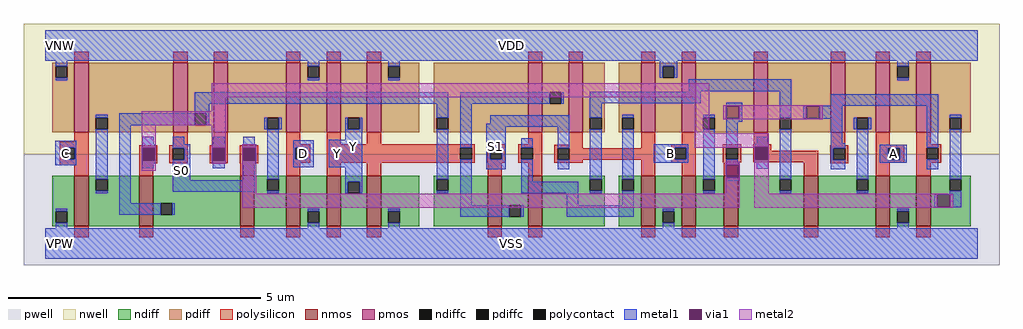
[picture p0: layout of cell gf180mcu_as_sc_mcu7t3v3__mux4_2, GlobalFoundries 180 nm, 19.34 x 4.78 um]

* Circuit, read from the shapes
.subckt gf180mcu_as_sc_mcu7t3v3__mux4_2 VDD VNW VPW VSS C D Y B A S0 S1
XM1 n1 C VSS VPW nfet_03v3 w=1u l=0.28u
XM2 n2 n3 n1 VPW nfet_03v3 w=1u l=0.28u
XM3 n4 S0 n2 VPW nfet_03v3 w=1u l=0.28u
XM4 VSS D n4 VPW nfet_03v3 w=1u l=0.28u
XM5 Y n5 VSS VPW nfet_03v3 w=1u l=0.28u m=2
XM6 n5 S1 n2 VPW nfet_03v3 w=1u l=0.28u
XM7 n6 n7 n5 VPW nfet_03v3 w=1u l=0.28u
XM8 VSS S1 n7 VPW nfet_03v3 w=1u l=0.28u
XM9 n8 B VSS VPW nfet_03v3 w=1u l=0.28u
XM10 n6 S0 n8 VPW nfet_03v3 w=1u l=0.28u
XM11 n9 n3 n6 VPW nfet_03v3 w=1u l=0.28u
XM12 VSS A n9 VPW nfet_03v3 w=1u l=0.28u
XM13 n3 S0 VSS VPW nfet_03v3 w=1u l=0.28u
XM14 n1 C VDD VNW pfet_03v3 w=1.38u l=0.28u
XM15 n2 S0 n1 VNW pfet_03v3 w=1.38u l=0.28u
XM16 n4 n3 n2 VNW pfet_03v3 w=1.38u l=0.28u
XM17 VDD D n4 VNW pfet_03v3 w=1.38u l=0.28u
XM18 Y n5 VDD VNW pfet_03v3 w=1.38u l=0.28u m=2
XM19 n5 n7 n2 VNW pfet_03v3 w=1.38u l=0.28u
XM20 n6 S1 n5 VNW pfet_03v3 w=1.38u l=0.28u
XM21 VDD S1 n7 VNW pfet_03v3 w=1.38u l=0.28u
XM22 n8 B VDD VNW pfet_03v3 w=1.38u l=0.28u
XM23 n6 n3 n8 VNW pfet_03v3 w=1.38u l=0.28u
XM24 n9 S0 n6 VNW pfet_03v3 w=1.38u l=0.28u
XM25 VDD A n9 VNW pfet_03v3 w=1.38u l=0.28u
XM26 n3 S0 VDD VNW pfet_03v3 w=1.38u l=0.28u
.ends

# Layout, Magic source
magic
tech gf180mcuD
magscale 1 10
<< nwell >>
rect -86 354 3782 870
<< pwell >>
rect -86 -86 3782 354
<< nmos >>
rect 116 68 172 268
rect 372 68 428 268
rect 773 68 829 268
rect 955 68 1011 268
rect 1115 68 1171 268
rect 1275 68 1331 268
rect 1754 68 1810 268
rect 1914 68 1970 268
rect 2362 68 2418 268
rect 2522 68 2578 268
rect 2690 68 2746 268
rect 3007 68 3063 268
rect 3291 68 3347 268
rect 3453 68 3509 268
<< pmos >>
rect 116 440 172 716
rect 508 440 564 716
rect 668 440 724 716
rect 955 440 1011 716
rect 1115 440 1171 716
rect 1275 440 1331 716
rect 1914 440 1970 716
rect 2074 440 2130 716
rect 2362 440 2418 716
rect 2522 440 2578 716
rect 2808 440 2864 716
rect 3114 440 3170 716
rect 3291 440 3347 716
rect 3453 440 3509 716
<< ndiff >>
rect 28 127 116 268
rect 28 81 41 127
rect 87 81 116 127
rect 28 68 116 81
rect 172 255 372 268
rect 172 209 201 255
rect 247 209 372 255
rect 172 68 372 209
rect 428 159 773 268
rect 428 113 457 159
rect 503 113 773 159
rect 428 68 773 113
rect 829 255 955 268
rect 829 209 880 255
rect 926 209 955 255
rect 829 68 955 209
rect 1011 127 1115 268
rect 1011 81 1040 127
rect 1086 81 1115 127
rect 1011 68 1115 81
rect 1171 244 1275 268
rect 1171 198 1200 244
rect 1246 198 1275 244
rect 1171 68 1275 198
rect 1331 127 1483 268
rect 1331 81 1360 127
rect 1406 81 1483 127
rect 1331 68 1483 81
rect 1539 255 1754 268
rect 1539 209 1552 255
rect 1598 209 1754 255
rect 1539 68 1754 209
rect 1810 152 1914 268
rect 1810 106 1839 152
rect 1885 106 1914 152
rect 1810 68 1914 106
rect 1970 255 2218 268
rect 1970 209 2159 255
rect 2205 209 2218 255
rect 1970 68 2218 209
rect 2274 255 2362 268
rect 2274 209 2287 255
rect 2333 209 2362 255
rect 2274 68 2362 209
rect 2418 127 2522 268
rect 2418 81 2447 127
rect 2493 81 2522 127
rect 2418 68 2522 81
rect 2578 255 2690 268
rect 2578 209 2607 255
rect 2653 209 2690 255
rect 2578 68 2690 209
rect 2746 255 3007 268
rect 2746 209 2911 255
rect 2957 209 3007 255
rect 2746 68 3007 209
rect 3063 255 3291 268
rect 3063 209 3216 255
rect 3262 209 3291 255
rect 3063 68 3291 209
rect 3347 127 3453 268
rect 3347 81 3376 127
rect 3422 81 3453 127
rect 3347 68 3453 81
rect 3509 255 3668 268
rect 3509 209 3585 255
rect 3631 209 3668 255
rect 3509 68 3668 209
<< pdiff >>
rect 28 703 116 716
rect 28 657 41 703
rect 87 657 116 703
rect 28 440 116 657
rect 172 499 508 716
rect 172 453 201 499
rect 247 453 508 499
rect 172 440 508 453
rect 564 515 668 716
rect 564 469 593 515
rect 639 469 668 515
rect 564 440 668 469
rect 724 499 955 716
rect 724 453 880 499
rect 926 453 955 499
rect 724 440 955 453
rect 1011 703 1115 716
rect 1011 657 1040 703
rect 1086 657 1115 703
rect 1011 440 1115 657
rect 1171 499 1275 716
rect 1171 453 1200 499
rect 1246 453 1275 499
rect 1171 440 1275 453
rect 1331 703 1483 716
rect 1331 657 1360 703
rect 1406 657 1483 703
rect 1331 440 1483 657
rect 1539 499 1914 716
rect 1539 453 1552 499
rect 1598 453 1914 499
rect 1539 440 1914 453
rect 1970 600 2074 716
rect 1970 554 1999 600
rect 2045 554 2074 600
rect 1970 440 2074 554
rect 2130 499 2218 716
rect 2130 453 2159 499
rect 2205 453 2218 499
rect 2130 440 2218 453
rect 2274 499 2362 716
rect 2274 453 2287 499
rect 2333 453 2362 499
rect 2274 440 2362 453
rect 2418 703 2522 716
rect 2418 657 2447 703
rect 2493 657 2522 703
rect 2418 440 2522 657
rect 2578 499 2808 716
rect 2578 453 2607 499
rect 2653 453 2808 499
rect 2578 440 2808 453
rect 2864 499 3114 716
rect 2864 453 2911 499
rect 2957 453 3114 499
rect 2864 440 3114 453
rect 3170 499 3291 716
rect 3170 453 3216 499
rect 3262 453 3291 499
rect 3170 440 3291 453
rect 3347 703 3453 716
rect 3347 657 3376 703
rect 3422 657 3453 703
rect 3347 440 3453 657
rect 3509 499 3668 716
rect 3509 453 3585 499
rect 3631 453 3668 499
rect 3509 440 3668 453
<< ndiffc >>
rect 41 81 87 127
rect 201 209 247 255
rect 457 113 503 159
rect 880 209 926 255
rect 1040 81 1086 127
rect 1200 198 1246 244
rect 1360 81 1406 127
rect 1552 209 1598 255
rect 1839 106 1885 152
rect 2159 209 2205 255
rect 2287 209 2333 255
rect 2447 81 2493 127
rect 2607 209 2653 255
rect 2911 209 2957 255
rect 3216 209 3262 255
rect 3376 81 3422 127
rect 3585 209 3631 255
<< pdiffc >>
rect 41 657 87 703
rect 201 453 247 499
rect 593 469 639 515
rect 880 453 926 499
rect 1040 657 1086 703
rect 1200 453 1246 499
rect 1360 657 1406 703
rect 1552 453 1598 499
rect 1999 554 2045 600
rect 2159 453 2205 499
rect 2287 453 2333 499
rect 2447 657 2493 703
rect 2607 453 2653 499
rect 2911 453 2957 499
rect 3216 453 3262 499
rect 3376 657 3422 703
rect 3585 453 3631 499
<< polysilicon >>
rect 116 716 172 760
rect 508 716 564 760
rect 668 716 724 760
rect 955 716 1011 760
rect 1115 716 1171 760
rect 1275 716 1331 760
rect 1914 716 1970 760
rect 2074 716 2130 760
rect 2362 716 2418 760
rect 2522 716 2578 760
rect 2808 716 2864 760
rect 3114 716 3170 760
rect 3291 716 3347 760
rect 3453 716 3509 760
rect 116 403 172 440
rect 58 380 172 403
rect 508 390 564 440
rect 668 390 724 440
rect 955 392 1011 440
rect 1115 392 1171 440
rect 1275 392 1331 440
rect 1914 392 1970 440
rect 58 334 71 380
rect 117 334 172 380
rect 58 310 172 334
rect 116 268 172 310
rect 372 377 444 390
rect 372 331 385 377
rect 431 331 444 377
rect 372 318 444 331
rect 492 377 564 390
rect 492 331 505 377
rect 551 331 564 377
rect 492 318 564 331
rect 652 377 724 390
rect 652 331 665 377
rect 711 331 724 377
rect 652 318 724 331
rect 772 377 844 390
rect 772 331 785 377
rect 831 331 844 377
rect 772 318 844 331
rect 955 379 1050 392
rect 955 333 991 379
rect 1037 333 1050 379
rect 955 320 1050 333
rect 1115 379 1703 392
rect 1115 333 1644 379
rect 1690 333 1703 379
rect 1115 320 1703 333
rect 1751 379 1823 392
rect 1751 333 1764 379
rect 1810 333 1823 379
rect 1751 320 1823 333
rect 1874 379 1970 392
rect 2074 391 2130 440
rect 1874 333 1887 379
rect 1933 333 1970 379
rect 1874 320 1970 333
rect 372 268 428 318
rect 773 268 829 318
rect 955 268 1011 320
rect 1115 268 1171 320
rect 1275 268 1331 320
rect 1754 268 1810 320
rect 1914 268 1970 320
rect 2018 378 2130 391
rect 2362 378 2418 440
rect 2522 392 2578 440
rect 2808 393 2864 440
rect 2018 332 2031 378
rect 2077 332 2418 378
rect 2018 319 2130 332
rect 2362 268 2418 332
rect 2482 379 2578 392
rect 2482 333 2495 379
rect 2541 333 2578 379
rect 2482 320 2578 333
rect 2686 380 2758 393
rect 2686 334 2699 380
rect 2745 334 2758 380
rect 2686 321 2758 334
rect 2806 380 2878 393
rect 3114 390 3170 440
rect 3291 391 3347 440
rect 3453 392 3509 440
rect 2806 334 2819 380
rect 2865 367 2878 380
rect 3111 377 3183 390
rect 2865 334 3063 367
rect 2806 321 3063 334
rect 2522 268 2578 320
rect 2690 268 2746 321
rect 3007 268 3063 321
rect 3111 331 3124 377
rect 3170 331 3183 377
rect 3111 318 3183 331
rect 3291 378 3405 391
rect 3291 332 3341 378
rect 3387 332 3405 378
rect 3291 319 3405 332
rect 3453 379 3552 392
rect 3453 333 3493 379
rect 3539 333 3552 379
rect 3453 320 3552 333
rect 3291 268 3347 319
rect 3453 268 3509 320
rect 116 24 172 68
rect 372 24 428 68
rect 773 24 829 68
rect 955 24 1011 68
rect 1115 24 1171 68
rect 1275 24 1331 68
rect 1754 24 1810 68
rect 1914 24 1970 68
rect 2362 24 2418 68
rect 2522 24 2578 68
rect 2690 24 2746 68
rect 3007 24 3063 68
rect 3291 24 3347 68
rect 3453 24 3509 68
<< polycontact >>
rect 71 334 117 380
rect 385 331 431 377
rect 505 331 551 377
rect 665 331 711 377
rect 785 331 831 377
rect 991 333 1037 379
rect 1644 333 1690 379
rect 1764 333 1810 379
rect 1887 333 1933 379
rect 2031 332 2077 378
rect 2495 333 2541 379
rect 2699 334 2745 380
rect 2819 334 2865 380
rect 3124 331 3170 377
rect 3341 332 3387 378
rect 3493 333 3539 379
<< metal1 >>
rect 0 724 3696 844
rect 41 703 87 724
rect 41 646 87 657
rect 1040 703 1086 724
rect 1040 646 1086 657
rect 1360 703 1406 724
rect 2436 703 2504 724
rect 2436 657 2447 703
rect 2493 657 2504 703
rect 3376 703 3422 724
rect 1360 646 1406 657
rect 2551 604 2957 650
rect 3376 646 3422 657
rect 2551 602 2598 604
rect 593 554 1598 600
rect 593 515 650 554
rect 201 499 247 510
rect 40 380 124 406
rect 40 334 71 380
rect 117 334 124 380
rect 40 309 124 334
rect 201 255 247 453
rect 201 198 247 209
rect 293 469 593 515
rect 639 469 650 515
rect 1552 499 1598 554
rect 293 159 339 469
rect 869 453 880 499
rect 926 453 937 499
rect 1189 453 1200 499
rect 1246 453 1257 499
rect 385 392 431 423
rect 505 392 551 423
rect 665 392 711 423
rect 785 392 831 423
rect 385 380 437 392
rect 385 316 437 328
rect 505 377 575 392
rect 551 331 575 377
rect 385 297 431 316
rect 505 251 575 331
rect 662 380 714 392
rect 662 316 714 328
rect 782 380 834 392
rect 782 316 834 328
rect 665 297 711 316
rect 785 251 831 316
rect 505 205 831 251
rect 880 255 926 453
rect 1189 410 1257 453
rect 983 379 1065 409
rect 983 333 991 379
rect 1037 333 1065 379
rect 983 302 1065 333
rect 1124 302 1257 410
rect 880 198 926 209
rect 1189 244 1257 302
rect 1189 198 1200 244
rect 1246 198 1257 244
rect 1552 255 1598 453
rect 1552 198 1598 209
rect 1644 554 1999 600
rect 2045 554 2056 600
rect 2159 556 2598 602
rect 1644 379 1690 554
rect 1764 475 2077 508
rect 41 127 87 138
rect 293 113 457 159
rect 503 113 514 159
rect 1644 152 1690 333
rect 1747 462 2077 475
rect 1747 379 1825 462
rect 1747 333 1764 379
rect 1810 333 1825 379
rect 1747 294 1825 333
rect 1887 379 1933 416
rect 1887 244 1933 333
rect 2031 378 2077 462
rect 2031 294 2077 332
rect 2159 499 2205 556
rect 2699 546 2763 558
rect 2159 255 2205 453
rect 1887 198 2113 244
rect 2159 198 2205 209
rect 2287 499 2333 510
rect 2287 255 2333 453
rect 2607 499 2653 510
rect 2411 379 2549 392
rect 2411 333 2495 379
rect 2541 333 2549 379
rect 2411 320 2549 333
rect 2067 152 2113 198
rect 2287 152 2333 209
rect 2607 255 2653 453
rect 2751 494 2763 546
rect 2699 482 2763 494
rect 2911 499 2957 604
rect 3113 546 3539 591
rect 2699 380 2745 482
rect 3005 494 3017 546
rect 3069 545 3539 546
rect 3069 494 3159 545
rect 2819 395 2865 422
rect 2699 324 2745 334
rect 2813 383 2865 395
rect 2699 312 2751 324
rect 2813 319 2865 331
rect 2819 296 2865 319
rect 2699 248 2751 260
rect 2911 255 2957 453
rect 3113 397 3159 494
rect 3205 453 3216 499
rect 3262 453 3273 499
rect 3113 377 3170 397
rect 3113 331 3124 377
rect 3113 294 3170 331
rect 2607 198 2653 209
rect 2911 198 2957 209
rect 3216 255 3262 453
rect 3308 378 3415 391
rect 3308 332 3341 378
rect 3387 332 3415 378
rect 3308 319 3415 332
rect 3493 379 3539 545
rect 3493 294 3539 333
rect 3585 499 3631 510
rect 3216 198 3262 209
rect 3585 255 3631 453
rect 3585 195 3631 209
rect 1040 127 1086 138
rect 41 60 87 81
rect 1040 60 1086 81
rect 1360 127 1406 138
rect 1644 106 1839 152
rect 1885 106 1896 152
rect 2067 106 2333 152
rect 3523 143 3535 195
rect 3587 143 3631 195
rect 2447 127 2493 138
rect 1360 60 1406 81
rect 2447 60 2493 81
rect 3376 127 3422 138
rect 3376 60 3422 81
rect 0 -60 3696 60
<< via1 >>
rect 385 377 437 380
rect 385 331 431 377
rect 431 331 437 377
rect 385 328 437 331
rect 662 377 714 380
rect 662 331 665 377
rect 665 331 711 377
rect 711 331 714 377
rect 662 328 714 331
rect 782 377 834 380
rect 782 331 785 377
rect 785 331 831 377
rect 831 331 834 377
rect 782 328 834 331
rect 2699 494 2751 546
rect 3017 494 3069 546
rect 2813 380 2865 383
rect 2813 334 2819 380
rect 2819 334 2865 380
rect 2813 331 2865 334
rect 2699 260 2751 312
rect 3535 143 3587 195
<< metal2 >>
rect 660 579 2631 635
rect 660 524 716 579
rect 383 468 716 524
rect 383 380 439 468
rect 383 328 385 380
rect 437 328 439 380
rect 383 287 439 328
rect 660 380 716 468
rect 2575 436 2631 579
rect 2687 546 3081 548
rect 2687 494 2699 546
rect 2751 494 3017 546
rect 3069 494 3081 546
rect 2687 492 3081 494
rect 660 328 662 380
rect 714 328 716 380
rect 660 316 716 328
rect 780 380 836 392
rect 2575 383 2867 436
rect 2575 380 2813 383
rect 780 328 782 380
rect 834 328 836 380
rect 780 197 836 328
rect 2811 331 2813 380
rect 2865 331 2867 383
rect 2697 312 2753 324
rect 2697 260 2699 312
rect 2751 260 2753 312
rect 2697 197 2753 260
rect 780 141 2753 197
rect 2811 197 2867 331
rect 2811 195 3599 197
rect 2811 143 3535 195
rect 3587 143 3599 195
rect 2811 141 3599 143
<< labels >>
flabel metal1 s 0 724 3696 844 0 FreeSans 400 0 0 0 VDD
port 1 nsew power bidirectional abutment
flabel metal1 s 0 -60 3696 60 0 FreeSans 400 0 0 0 VSS
port 4 nsew ground bidirectional abutment
flabel nwell s 10 734 110 834 0 FreeSans 400 0 0 0 VNW
port 2 nsew power bidirectional
flabel pwell s 10 -50 110 50 0 FreeSans 400 0 0 0 VPW
port 3 nsew ground bidirectional
flabel metal1 40 309 124 406 0 FreeSans 200 0 0 0 C
port 5 nsew signal input
flabel metal1 983 302 1065 409 0 FreeSans 200 0 0 0 D
port 6 nsew signal input
flabel metal1 1189 268 1257 499 0 FreeSans 200 0 0 0 Y
port 7 nsew signal output
flabel metal1 1124 302 1189 410 0 FreeSans 200 0 0 0 Y
port 7 nsew signal output
flabel metal1 2411 320 2549 392 0 FreeSans 200 0 0 0 B
port 8 nsew signal input
flabel metal1 3308 319 3415 391 0 FreeSans 200 0 0 0 A
port 9 nsew signal input
flabel metal1 505 205 575 372 0 FreeSans 200 0 0 0 S0
port 10 nsew signal input
flabel metal1 1747 294 1825 475 0 FreeSans 200 0 0 0 S1
port 11 nsew signal input
<< properties >>
string FIXED_BBOX 0 0 3696 784
string LEFclass CORE
string LEFsite unithd
string LEFsymmetry X Y
string MASKHINTS_NPLUS -16 -46 3712 354
string MASKHINTS_PPLUS -16 354 3712 830
<< end >>
